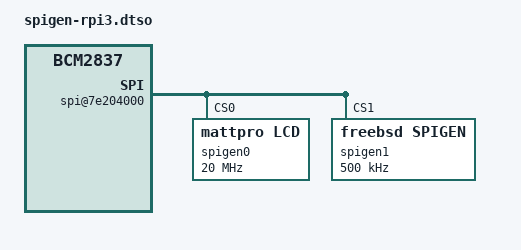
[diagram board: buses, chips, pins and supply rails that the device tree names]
/* $FreeBSD:$ */
 
 /dts-v1/;
 /plugin/;
 
 / {
         compatible = "brcm,bcm2837";
 };
         
 &{/soc/spi@7e204000} {
         status = "okay";
	
//	nlcdRpi {
//		compatible = "lcd,lcdRpi";
//		reg = <0>;
//		spi-max-frequency = <500000>;
//		status = "okey";
//	};	


         spigen0: spigen0 {
//                 compatible = "freebsd,spigen";
		 compatible = "mattpro,lcd";
                 reg = <0>;
                 spi-max-frequency = <20000000>; /* Req'd property, override with spi(8) */
                 status = "okay";
         };

         spigen1: spigen1 {
                 compatible = "freebsd,spigen";
                 reg = <1>;
                 spi-max-frequency = <500000>; /* Req'd property, override with spi(8) */
                 status = "okay";
         };
 };
 
 &{/soc/gpio@7e200000/spi0_cs_pins} {
         brcm,pins = <8 7>;
         brcm,function = <4>; /* ALT0 */
 };
 

